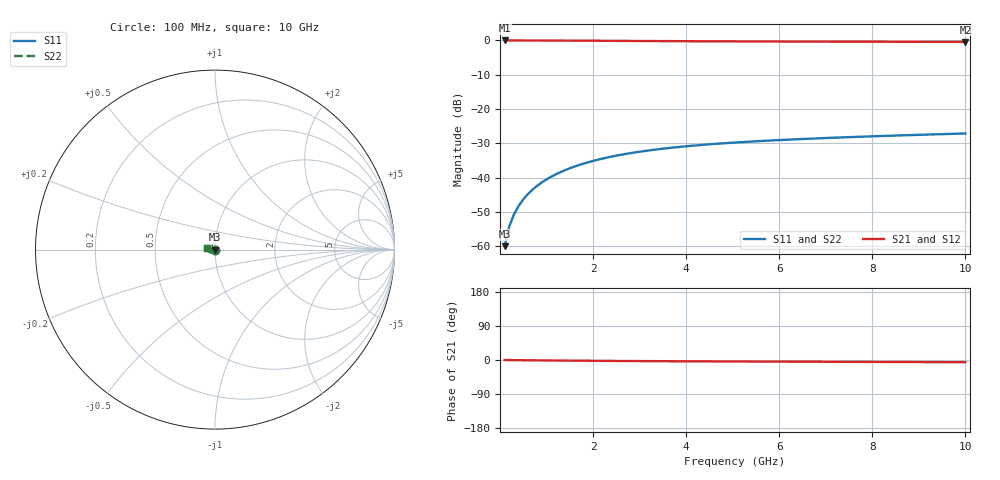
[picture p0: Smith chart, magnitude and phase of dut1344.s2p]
! Touchstone file exported from HFSS 2024.1.0
!  File:  C:/UserFiles/LocalFiles/RDL_TSV_Batchsim/temp_TSV1_1344_1780376645.aedt
!  Generated:  01:10:19 PM Jun  2, 2026
!  Design:  TSV1
!  Project:  temp_TSV1_1344_1780376645
!  Setup:  Setup1
!  Solution:  Sweep
! Variables:
!  dtsv = 7.19um
!  hbump = 3um
!  htsv = 92.05um
!  lrdl = 252.1521522um
!  p = 40
!  p1 = 44.24um
!  t = 500um
!  trdl = 3um
!  wrdl = 24.89489489um
# GHz S MA R 50.000000
! Terminal data exported
! Port[1] = TSV22_T1
! Port[2] = TSV22_T2
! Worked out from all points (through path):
!   100 points, 100 MHz to 10 GHz, reference 50 ohm
!   highest |S21| = 0.00 dB at 100 MHz (marker M1); lowest = -0.4 dB at 10 GHz (marker M2)
!   lowest |S11| = -60.0 dB at 100 MHz (marker M3), VSWR 1.00, Z = 50 - j0.0964 ohm
!   |S11| at or under -10 dB: start of sweep to end of sweep
!   |S22| runs from -60.0 to -27.1 dB; largest |S21 - S12| = 5e-15
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0.1  0.001002 -74.0  0.9997 -0.1  0.9997 -0.1  0.001002 -74.0
! Gamma 0 0 0 0
! Port Impedance 50 0 50 0
0.2  0.001949 -84.3  0.9996 -0.2  0.9996 -0.2  0.001949 -84.3
0.3  0.002906 -89.1  0.9994 -0.4  0.9994 -0.4  0.002906 -89.1
0.4  0.003861 -92.4  0.9992 -0.5  0.9992 -0.5  0.003861 -92.4
0.5  0.004811 -95.0  0.9989 -0.6  0.9989 -0.6  0.004811 -95.0
0.6  0.005753 -97.4  0.9986 -0.7  0.9986 -0.7  0.005753 -97.4
0.7  0.006687 -99.6  0.9982 -0.8  0.9982 -0.8  0.006687 -99.6
0.8  0.00761 -101.6  0.9978 -0.9  0.9978 -0.9  0.00761 -101.6
0.9  0.008521 -103.6  0.9973 -1.0  0.9973 -1.0  0.008521 -103.6
1.1  0.0103 -107.3  0.9962 -1.3  0.9962 -1.3  0.0103 -107.3
1.4  0.01287 -112.6  0.9944 -1.6  0.9944 -1.6  0.01287 -112.6
1.6  0.01449 -115.9  0.9929 -1.8  0.9929 -1.8  0.01449 -115.9
1.8  0.01605 -119.1  0.9915 -2.0  0.9915 -2.0  0.01604 -119.1
2.1  0.01824 -123.7  0.9891 -2.2  0.9891 -2.2  0.01824 -123.7
2.5  0.02091 -129.5  0.9859 -2.5  0.9859 -2.5  0.02091 -129.5
2.9  0.0233 -134.9  0.9827 -2.8  0.9827 -2.8  0.0233 -134.9
3.4  0.02593 -141.1  0.9789 -3.1  0.9789 -3.1  0.02593 -141.1
4.2  0.02945 -150.0  0.9735 -3.5  0.9735 -3.5  0.02945 -150.0
5.1  0.03264 -158.7  0.9683 -3.9  0.9683 -3.9  0.03264 -158.7
6.7  0.03707 -171.5  0.9615 -4.6  0.9615 -4.6  0.03707 -171.5
8.4  0.04085 177.5  0.9565 -5.2  0.9565 -5.2  0.04085 177.5
10  0.04402 168.9  0.9532 -5.8  0.9532 -5.8  0.04402 168.9
